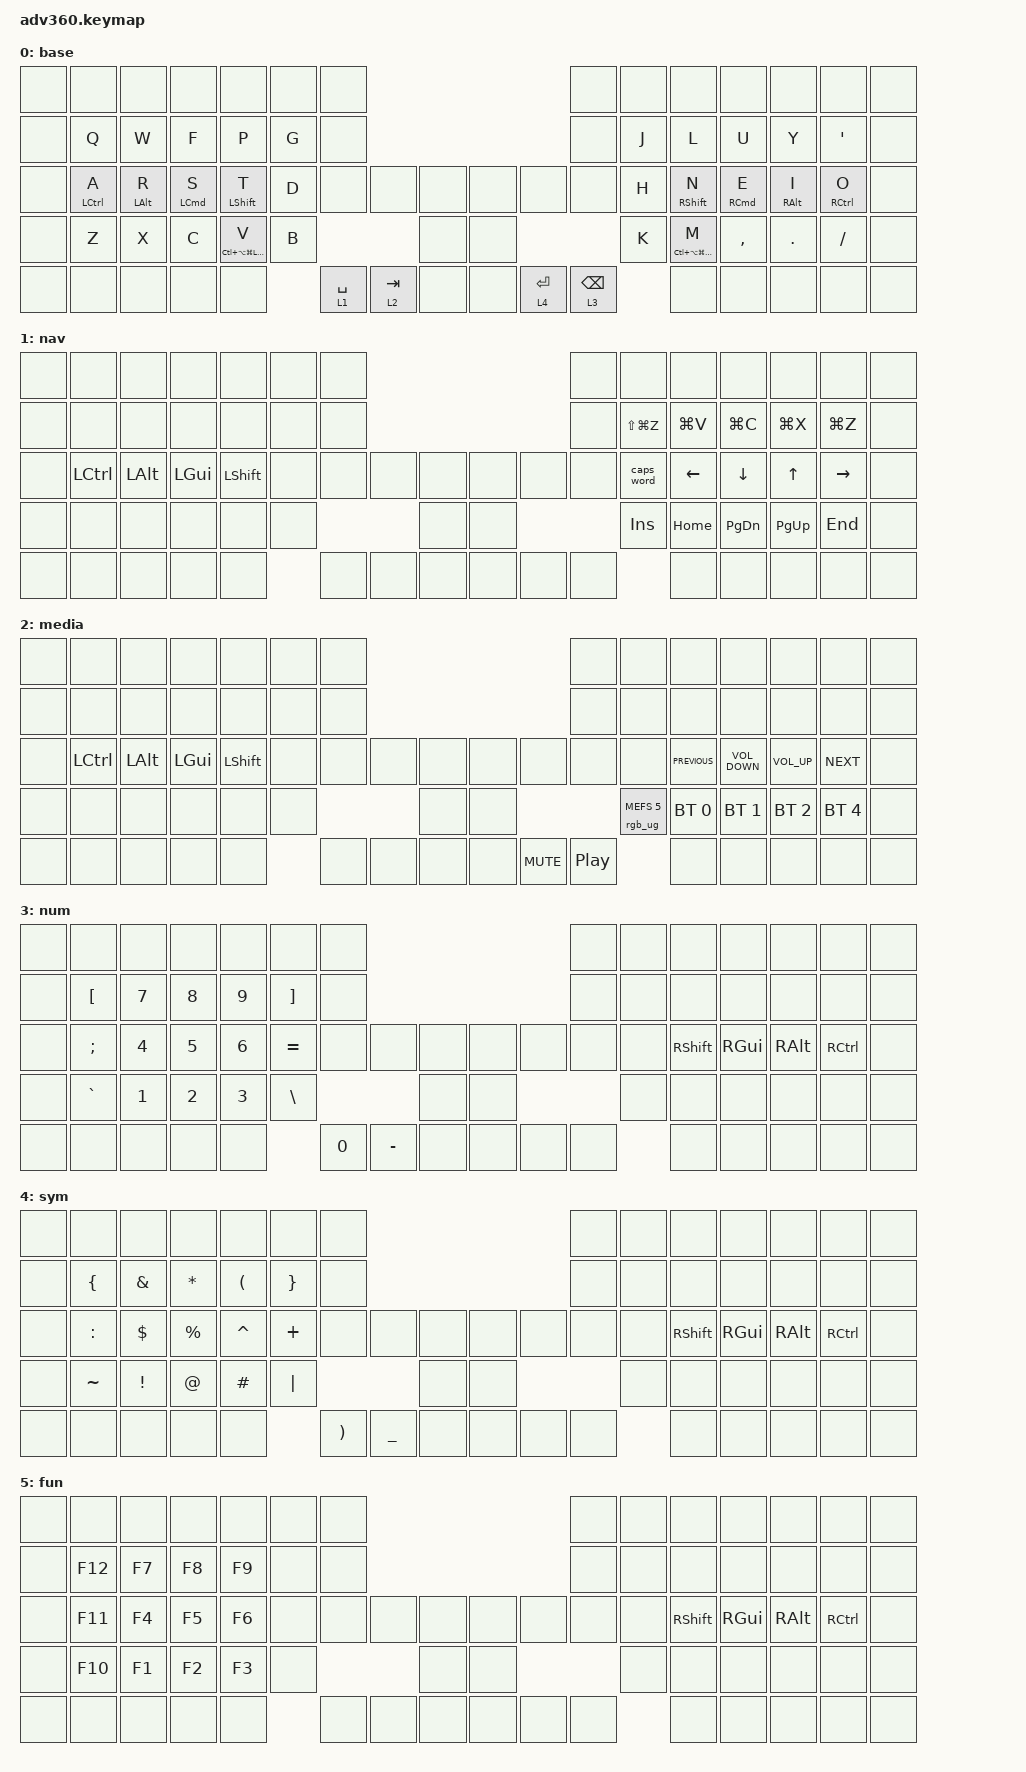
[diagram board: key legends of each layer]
#include <behaviors.dtsi>
#include <dt-bindings/zmk/bt.h>
#include <dt-bindings/zmk/keys.h>
#include <dt-bindings/zmk/rgb.h>

/ {
    behaviors {
        #include "macros.dtsi"
      #include "version.dtsi"
      #ifndef VERSION_MACRO


        #endif

        hml: hml {
            compatible = "zmk,behavior-hold-tap";
            label = "HML";
            bindings = <&kp>, <&kp>;

            #binding-cells = <2>;
            tapping-term-ms = <280>;
            quick-tap-ms = <175>;
            require-prior-idle-ms = <150>;
            flavor = "balanced";
            hold-trigger-key-positions = <7 21 39 8 22 7 8 9 10 11 12 13 21 22 23 24 25 26 27 38 39 40 41 42 43 44 45 54 55 56 57 58 59 69 70 71 72 73 74 75 37 38 53 68 35 65 66 67 36 52>;
            hold-trigger-on-release;
        };

        hmr: hmr {
            compatible = "zmk,behavior-hold-tap";
            label = "HMR";
            bindings = <&kp>, <&kp>;

            #binding-cells = <2>;
            tapping-term-ms = <280>;
            quick-tap-ms = <175>;
            require-prior-idle-ms = <150>;
            flavor = "balanced";
            hold-trigger-key-positions = <37 53 68 35 65 66 67 36 52 0 1 2 3 4 5 6 14 15 16 17 18 19 20 28 29 30 31 32 33 34 35 36 46 47 48 49 50 51 60 61 62 63 64 65 38 69 70>;
            hold-trigger-on-release;
        };
    };

    combos {
        compatible = "zmk,combos";

        fwd-del-or-fun-layer {
            bindings = <&lt 5 DELETE>;
            key-positions = <69 70>;
        };

        esc {
            bindings = <&kp ESCAPE>;
            key-positions = <65 66>;
        };
    };

    keymap {
        compatible = "zmk,keymap";

        base {
            bindings = <
&none  &none                &none            &none                &none                          &none  &none                                                &none            &none  &none                           &none                 &none             &none                 &none
&none  &kp Q                &kp W            &kp F                &kp P                          &kp G  &none                                                &none            &kp J  &kp L                           &kp U                 &kp Y             &kp SQT               &none
&none  &hml LEFT_CONTROL A  &hml LEFT_ALT R  &hml LEFT_COMMAND S  &hml LEFT_SHIFT T              &kp D  &none        &none      &none      &none  &none      &none            &kp H  &hmr RIGHT_SHIFT N              &hmr RIGHT_COMMAND E  &hmr RIGHT_ALT I  &hmr RIGHT_CONTROL O  &none
&none  &kp Z                &kp X            &kp C                &hml LC(LA(LG(LEFT_SHIFT))) V  &kp B                          &none      &none                              &kp K  &hmr LC(LA(LG(RIGHT_SHIFT))) M  &kp COMMA             &kp DOT           &kp FSLH              &none
&none  &none                &none            &none                &none                                 &lt 1 SPACE  &lt 2 TAB  &none      &none  &lt 4 RET  &lt 3 BACKSPACE         &none                           &none                 &none             &none                 &none
            >;
        };

        nav {
            bindings = <
&none  &none      &none     &none     &none      &none  &none                                  &none  &none          &none      &none          &none        &none      &none
&none  &none      &none     &none     &none      &none  &none                                  &none  &kp LS(LG(Z))  &kp LG(V)  &kp LG(C)      &kp LG(X)    &kp LG(Z)  &none
&none  &kp LCTRL  &kp LALT  &kp LGUI  &kp LSHFT  &none  &none  &none  &none      &none  &none  &none  &caps_word     &kp LEFT   &kp DOWN       &kp UP       &kp RIGHT  &none
&none  &none      &none     &none     &none      &none                &none      &none                &kp INSERT     &kp HOME   &kp PAGE_DOWN  &kp PAGE_UP  &kp END    &none
&none  &none      &none     &none     &none             &none  &none  &none      &none  &none  &none                 &none      &none          &none        &none      &none
            >;
        };

        media {
            bindings = <
&none  &none      &none     &none     &none      &none  &none                                       &none             &none                   &none           &none              &none            &none         &none
&none  &none      &none     &none     &none      &none  &none                                       &none             &none                   &none           &none              &none            &none         &none
&none  &kp LCTRL  &kp LALT  &kp LGUI  &kp LSHFT  &none  &none  &none  &none      &none  &none       &none             &none                   &kp C_PREVIOUS  &kp C_VOLUME_DOWN  &kp C_VOLUME_UP  &kp C_NEXT    &none
&none  &none      &none     &none     &none      &none                &none      &none                                &rgb_ug RGB_MEFS_CMD 5  &bt BT_SEL 0    &bt BT_SEL 1       &bt BT_SEL 2     &bt BT_SEL 4  &none
&none  &none      &none     &none     &none             &none  &none  &none      &none  &kp C_MUTE  &kp C_PLAY_PAUSE                          &none           &none              &none            &none         &none
            >;
        };

        num {
            bindings = <
&none  &none      &none   &none   &none   &none      &none                                       &none  &none  &none      &none     &none     &none      &none
&none  &kp LBKT   &kp N7  &kp N8  &kp N9  &kp RBKT   &none                                       &none  &none  &none      &none     &none     &none      &none
&none  &kp SEMI   &kp N4  &kp N5  &kp N6  &kp EQUAL  &none   &none      &none      &none  &none  &none  &none  &kp RSHFT  &kp RGUI  &kp RALT  &kp RCTRL  &none
&none  &kp GRAVE  &kp N1  &kp N2  &kp N3  &kp BSLH                      &none      &none                &none  &none      &none     &none     &none      &none
&none  &none      &none   &none   &none              &kp N0  &kp MINUS  &none      &none  &none  &none         &none      &none     &none     &none      &none
            >;
        };

        sym {
            bindings = <
&none  &none           &none            &none         &none                 &none            &none                                                      &none  &none  &none      &none     &none     &none      &none
&none  &kp LEFT_BRACE  &kp AMPERSAND    &kp ASTERISK  &kp LEFT_PARENTHESIS  &kp RIGHT_BRACE  &none                                                      &none  &none  &none      &none     &none     &none      &none
&none  &kp COLON       &kp DOLLAR       &kp PERCENT   &kp CARET             &kp PLUS         &none                  &none      &none      &none  &none  &none  &none  &kp RSHFT  &kp RGUI  &kp RALT  &kp RCTRL  &none
&none  &kp TILDE       &kp EXCLAMATION  &kp AT_SIGN   &kp POUND             &kp PIPE                                           &none      &none                &none  &none      &none     &none     &none      &none
&none  &none           &none            &none         &none                                  &kp RIGHT_PARENTHESIS  &kp UNDER  &none      &none  &none  &none         &none      &none     &none     &none      &none
            >;
        };

        fun {
            bindings = <
&none  &none    &none   &none   &none   &none  &none                                  &none  &none  &none      &none     &none     &none      &none
&none  &kp F12  &kp F7  &kp F8  &kp F9  &none  &none                                  &none  &none  &none      &none     &none     &none      &none
&none  &kp F11  &kp F4  &kp F5  &kp F6  &none  &none  &none  &none      &none  &none  &none  &none  &kp RSHFT  &kp RGUI  &kp RALT  &kp RCTRL  &none
&none  &kp F10  &kp F1  &kp F2  &kp F3  &none                &none      &none                &none  &none      &none     &none     &none      &none
&none  &none    &none   &none   &none          &none  &none  &none      &none  &none  &none         &none      &none     &none     &none      &none
            >;
        };
    };
};
